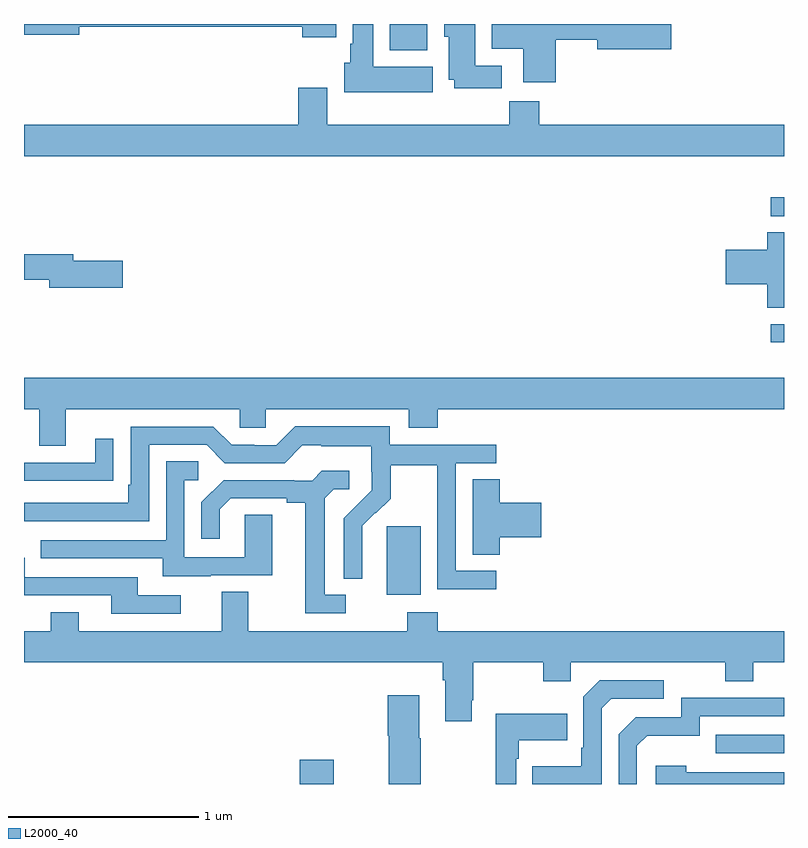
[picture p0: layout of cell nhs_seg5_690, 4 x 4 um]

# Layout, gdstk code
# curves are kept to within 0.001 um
import gdstk
lib = gdstk.Library(unit=1e-6, precision=1e-09)
def R(c, l, rs):  # rectangles x0, y0, x1, y1
    for r in rs: c.add(gdstk.rectangle(r[:2], r[2:], *l))
def P(c, l, *ps):  # polygons
    for p in ps: c.add(gdstk.Polygon(p, *l))
L2000_40 = (2000, 40)

nhs_seg5_690 = lib.new_cell('nhs_seg5_690')
R(nhs_seg5_690, L2000_40, [(156.452,842.799,156.63,842.926), (158.641,842.961,159,843.057), (156.908,843.794,157.087,844.155), (158.931,845.124,159,845.22), (158.931,845.787,159,845.886), (156.926,846.662,157.123,846.799)])
P(nhs_seg5_690, L2000_40, [(157.514,846.58),(157.375,846.58),(157.375,846.799),(157.211,846.799),(157.211,846.732),(157.235,846.732),(157.235,846.506),(157.265,846.506),(157.265,846.462),(157.514,846.462)],
  [(156.643,846.799),(155,846.799),(155,846.742),(155.29,846.742),(155.29,846.784),(156.464,846.784),(156.464,846.728),(156.643,846.728)],
  [(157.15,846.574),(156.838,846.574),(156.838,846.799),(156.731,846.799),(156.731,846.694),(156.716,846.694),(156.716,846.594),(156.686,846.594),(156.686,846.44),(157.15,846.44)],
  [(157.799,846.717),(158.018,846.717),(158.018,846.667),(158.407,846.667),(158.407,846.799),(157.463,846.799),(157.463,846.668),(157.628,846.668),(157.628,846.492),(157.799,846.492)],
  [(159,846.268),(157.712,846.268),(157.712,846.392),(157.555,846.392),(157.555,846.268),(156.595,846.268),(156.595,846.463),(156.443,846.463),(156.443,846.268),(155,846.268),(155,846.104),(159,846.104)],
  [(159,845.702),(158.912,845.702),(158.912,845.612),(158.694,845.612),(158.694,845.429),(158.912,845.429),(158.912,845.305),(159,845.305)],
  [(155.521,845.552),(155.26,845.552),(155.26,845.588),(155,845.588),(155,845.452),(155.132,845.452),(155.132,845.41),(155.521,845.41)],
  [(155.221,844.772),(156.135,844.772),(156.135,844.674),(156.273,844.674),(156.273,844.772),(157.025,844.772),(157.025,844.673),(157.178,844.673),(157.178,844.772),(159,844.772),(159,844.936),(155,844.936),(155,844.772),(155.081,844.772),(155.081,844.578),(155.221,844.578)],
  [(157.486,843.921),(157.272,843.921),(157.272,844.488),(157.486,844.488),(157.486,844.584),(156.924,844.584),(156.924,844.681),(156.427,844.681),(156.327,844.581),(156.212,844.581),(156.212,844.584),(156.093,844.584),(155.997,844.68),(155.562,844.68),(155.562,844.375),(155.549,844.375),(155.549,844.278),(155,844.278),(155,844.182),(155.658,844.182),(155.658,844.584),(155.961,844.584),(156.057,844.488),(156.372,844.488),(156.465,844.581),(156.565,844.581),(156.565,844.577),(156.828,844.577),(156.828,844.443),(156.83,844.443),(156.83,844.346),(156.684,844.198),(156.684,843.88),(156.78,843.88),(156.779,844.157),(156.849,844.227),(156.852,844.224),(156.929,844.301),(156.929,844.476),(157.174,844.476),(157.174,844.252),(157.176,844.252),(157.176,843.823),(157.486,843.823)],
  [(155.369,844.396),(155.471,844.396),(155.471,844.615),(155.375,844.615),(155.375,844.491),(155,844.491),(155,844.395),(155.369,844.395)],
  [(155.983,843.897),(156.307,843.897),(156.307,844.217),(156.162,844.217),(156.162,843.993),(155.844,843.993),(155.844,844.398),(155.917,844.398),(155.917,844.499),(155.748,844.499),(155.748,844.083),(155.089,844.083),(155.089,843.987),(155.729,843.987),(155.729,843.893),(155.983,843.893)],
  [(156.694,843.795),(156.583,843.795),(156.583,844.303),(156.63,844.35),(156.712,844.35),(156.712,844.447),(156.568,844.447),(156.516,844.395),(156.422,844.395),(156.422,844.398),(156.05,844.398),(155.934,844.282),(155.934,844.089),(156.031,844.089),(156.031,844.245),(156.088,844.302),(156.383,844.302),(156.383,844.28),(156.479,844.28),(156.479,843.699),(156.694,843.699)],
  [(157.505,844.097),(157.723,844.097),(157.723,844.28),(157.505,844.28),(157.505,844.403),(157.361,844.403),(157.361,844.006),(157.505,844.006)],
  [(155.824,843.792),(155.599,843.792),(155.599,843.888),(155.004,843.888),(155.004,843.991),(155,843.991),(155,843.792),(155.459,843.792),(155.459,843.696),(155.824,843.696)],
  [(157.357,843.241),(157.365,843.241),(157.365,843.44),(157.732,843.44),(157.732,843.341),(157.878,843.341),(157.878,843.44),(158.692,843.44),(158.692,843.341),(158.839,843.341),(158.839,843.44),(159,843.44),(159,843.604),(157.178,843.604),(157.178,843.703),(157.018,843.703),(157.018,843.604),(156.181,843.604),(156.181,843.812),(156.041,843.812),(156.041,843.604),(155.287,843.604),(155.287,843.703),(155.14,843.703),(155.14,843.604),(155,843.604),(155,843.44),(157.205,843.44),(157.205,843.344),(157.217,843.344),(157.217,843.129),(157.357,843.129)],
  [(158.04,843.198),(158.091,843.249),(158.368,843.249),(158.368,843.345),(158.031,843.345),(157.944,843.258),(157.944,842.989),(157.932,842.989),(157.932,842.893),(157.675,842.893),(157.675,842.799),(158.04,842.799)],
  [(157.089,843.041),(157.081,843.041),(157.081,843.265),(156.914,843.265),(156.914,843.052),(156.919,843.052),(156.919,842.799),(157.089,842.799)],
  [(158.226,843),(158.279,843.053),(158.556,843.053),(158.556,843.156),(159,843.156),(159,843.252),(158.46,843.252),(158.46,843.15),(158.22,843.15),(158.13,843.06),(158.13,842.799),(158.226,842.799)],
  [(157.59,842.933),(157.603,842.933),(157.603,843.029),(157.859,843.029),(157.859,843.169),(157.482,843.169),(157.482,842.799),(157.59,842.799)],
  [(159,842.862),(158.486,842.862),(158.486,842.896),(158.325,842.896),(158.325,842.799),(159,842.799)])

lib.write_gds('nhs_seg5_690.gds')
